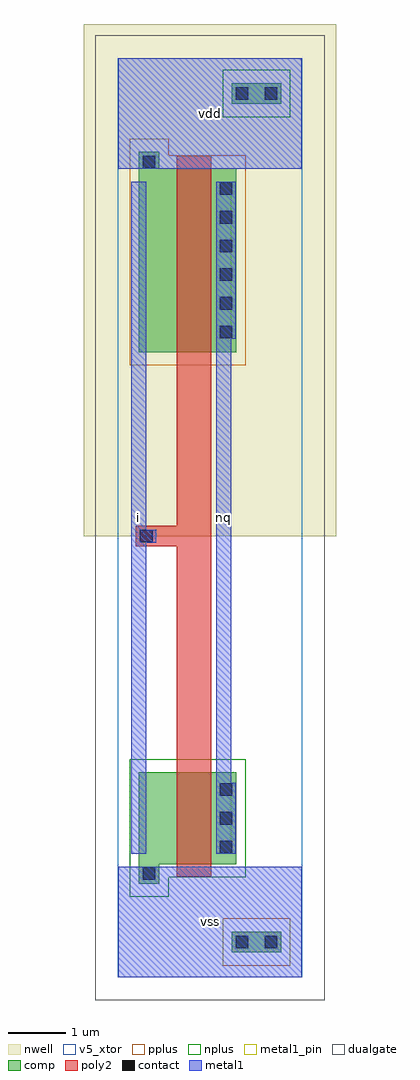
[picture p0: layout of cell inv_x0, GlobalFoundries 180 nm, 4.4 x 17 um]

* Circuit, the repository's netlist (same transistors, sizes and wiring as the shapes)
* inv_x0
.subckt inv_x0 vdd vss i nq
Mn vss i nq vss nfet_06v0 l=0.6um w=1.6um
Mp vdd i nq vdd pfet_06v0 l=0.6um w=3.2um
.ends inv_x0

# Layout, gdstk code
import gdstk
lib = gdstk.Library(unit=1e-6, precision=1e-09)
def R(c, l, rs):  # rectangles x0, y0, x1, y1
    for r in rs: c.add(gdstk.rectangle(r[:2], r[2:], *l))
def A(c, l, x, y, w, h, nx, ny, dx, dy):  # array of equal rectangles
    R(c, l, [(x+i*dx, y+j*dy, x+i*dx+w, y+j*dy+h) for i in range(nx) for j in range(ny)])
def P(c, l, *ps):  # polygons
    for p in ps: c.add(gdstk.Polygon(p, *l))
nwell = (21, 0)
comp = (22, 0)
poly2 = (30, 0)
pplus = (31, 0)
nplus = (32, 0)
contact = (33, 0)
metal1 = (34, 0)
metal1_pin = (34, 10)
dualgate = (55, 0)
v5_xtor = (112, 1)

inv_x0 = lib.new_cell('inv_x0')
R(inv_x0, nwell, [(-0.6,7.68,3.8,16.6)])
R(inv_x0, comp, [(1.98,0.43,2.84,0.79), (1.98,15.21,2.84,15.57)])
P(inv_x0, comp, [(0.36,1.625),(0.36,3.565),(2.06,3.565),(2.06,1.965),(0.72,1.965),(0.72,1.625)],
  [(0.36,10.885),(0.36,14.375),(0.72,14.375),(0.72,14.085),(2.06,14.085),(2.06,10.885)])
P(inv_x0, poly2, [(1.02,1.745),(1.02,7.5),(0.31,7.5),(0.31,7.86),(1.02,7.86),(1.02,14.305),(1.62,14.305),(1.62,1.745)])
R(inv_x0, pplus, [(1.82,0.2,3,1.02)])
P(inv_x0, pplus, [(0.2,10.655),(0.2,14.605),(0.88,14.605),(0.88,14.315),(2.22,14.315),(2.22,10.655)])
R(inv_x0, nplus, [(1.82,14.98,3,15.8)])
P(inv_x0, nplus, [(0.2,1.395),(0.2,3.795),(2.22,3.795),(2.22,1.735),(0.88,1.735),(0.88,1.395)])
A(inv_x0, contact, 1.77, 2.155, 0.22, 0.22, 1, 3, 0, 0.5)
A(inv_x0, contact, 1.77, 11.125, 0.22, 0.22, 1, 6, 0, 0.5)
R(inv_x0, contact, [(2.05,0.5,2.27,0.72), (2.55,0.5,2.77,0.72), (0.43,1.695,0.65,1.915), (0.38,7.57,0.6,7.79), (0.43,14.085,0.65,14.305), (2.05,15.28,2.27,15.5), (2.55,15.28,2.77,15.5)])
R(inv_x0, metal1, [(0,0,3.2,1.92), (0,14.08,3.2,16)])
P(inv_x0, metal1, [(0.23,2.15),(0.23,13.85),(0.49,13.85),(0.49,7.795),(0.66,7.795),(0.66,7.565),(0.49,7.565),(0.49,2.15)],
  [(1.71,2.15),(1.71,13.85),(2.05,13.85),(2.05,11.12),(1.97,11.12),(1.97,3.38),(2.05,3.38),(2.05,2.15)])
R(inv_x0, metal1_pin, [(0,0,3.2,1.92), (0.23,2.15,0.49,13.85), (1.71,2.15,1.97,13.85), (0,14.08,3.2,16)])
R(inv_x0, dualgate, [(-0.4,-0.4,3.6,16.4)])
R(inv_x0, v5_xtor, [(-0.005,-0.005,3.205,16.005)])
inv_x0.add(gdstk.Label('i', (0.36,8), layer=34, texttype=10))
inv_x0.add(gdstk.Label('vss', (1.6,0.96), layer=34, texttype=10))
inv_x0.add(gdstk.Label('vdd', (1.6,15.04), layer=34, texttype=10))
inv_x0.add(gdstk.Label('nq', (1.84,8), layer=34, texttype=10))

lib.write_gds('inv_x0.gds')
